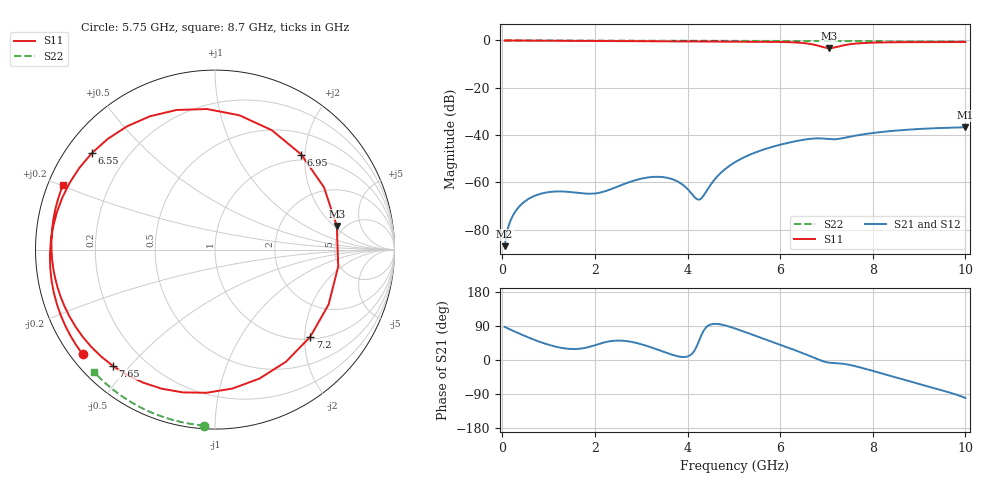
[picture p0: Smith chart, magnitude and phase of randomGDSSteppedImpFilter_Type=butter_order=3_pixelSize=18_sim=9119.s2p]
! freq	dB(S11)	phase(S11)	dB(S12)	phase(S12)
!  dB(S21)	phase(S21)	dB(S22)	phase(S22)
!S-par simulation data
#  GHz  S  DB  R 50
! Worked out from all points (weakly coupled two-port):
!   200 points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, 50 MHz to 10 GHz, reference 50 ohm
!   highest |S21| = -36.68 dB at 10 GHz (marker M1); lowest = -87.0 dB at 50 MHz (marker M2)
!   lowest |S11| = -3.2 dB at 7.05 GHz (marker M3), VSWR 5.48, Z = 216 + j109 ohm
!   |S11| at or under -10 dB: nowhere
!   |S22| runs from -0.5 to 0.0 dB; largest |S21 - S12| = 0
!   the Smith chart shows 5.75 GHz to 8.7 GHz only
!   S11 on the Smith chart (normalised r, x): 5.75 GHz: 0.03, -0.35; 6.55 GHz: 0.08, +0.34; 6.95 GHz: 0.89, +1.93; 7.2 GHz: 1.06, -2.13; 7.65 GHz: 0.09, -0.45; 8.7 GHz: 0.04, +0.20
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0.05  -0.01 -4.8  -87.03 87.3  -87.03 87.3  -0.00 -0.9
0.4  -0.05 -37.8  -69.56 67.9  -69.56 67.9  -0.01 -7.0
0.85  -0.10 -77.9  -64.73 46.2  -64.73 46.2  -0.02 -14.9
1.75  -0.16 -148.7  -64.72 31.0  -64.72 31.0  -0.04 -30.4
2.55  -0.22 150.9  -61.34 51.2  -61.34 51.2  -0.06 -43.9
3  -0.27 112.9  -58.47 41.6  -58.47 41.6  -0.07 -51.3
3.4  -0.34 74.8  -57.70 25.3  -57.70 25.3  -0.08 -57.7
4.15  -0.43 -4.3  -66.23 24.7  -66.23 24.7  -0.10 -69.6
4.6  -0.45 -49.2  -58.47 95.4  -58.47 95.4  -0.11 -76.5
5.05  -0.46 -88.5  -51.21 82.1  -51.21 82.1  -0.13 -83.3
5.75  -0.54 -141.7  -45.48 51.3  -45.48 51.3  -0.16 -93.6
6.2  -0.72 -178.1  -43.18 31.4  -43.18 31.4  -0.18 -100.0
6.55  -1.19 141.9  -41.87 15.0  -41.87 15.0  -0.20 -105.0
6.7  -1.65 116.0  -41.52 7.5  -41.52 7.5  -0.21 -107.1
6.95  -2.91 47.8  -41.54 -4.2  -41.54 -4.2  -0.23 -110.6
7.05  -3.21 11.0  -41.73 -6.9  -41.73 -6.9  -0.23 -112.0
7.2  -2.86 -42.5  -41.77 -8.3  -41.77 -8.3  -0.24 -114.1
7.4  -1.95 -93.4  -41.15 -10.6  -41.15 -10.6  -0.26 -116.9
7.65  -1.29 -131.2  -40.19 -17.1  -40.19 -17.1  -0.28 -120.3
8.35  -0.78 174.9  -38.40 -40.8  -38.40 -40.8  -0.33 -129.9
8.7  -0.72 156.9  -37.83 -52.9  -37.83 -52.9  -0.37 -134.6
10  -0.66 100.6  -36.68 -100.1  -36.68 -100.1  -0.52 -152.4
